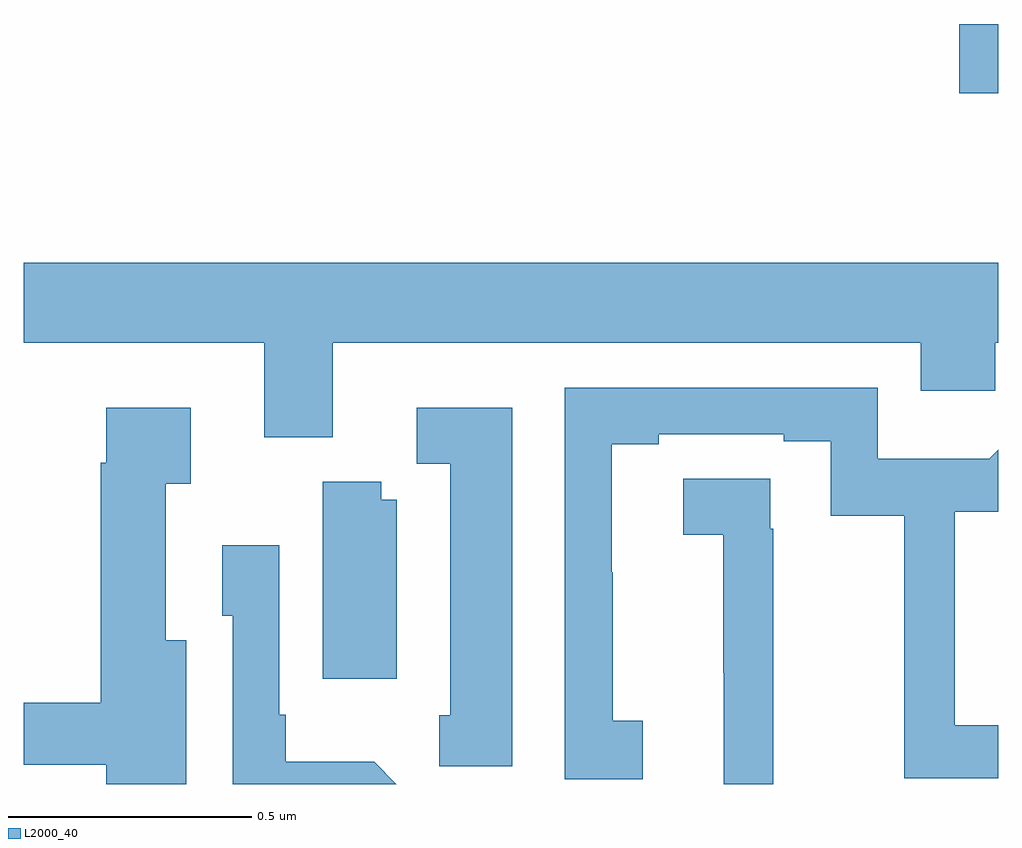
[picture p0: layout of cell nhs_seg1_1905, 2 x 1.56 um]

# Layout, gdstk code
import gdstk
lib = gdstk.Library(unit=1e-6, precision=1e-09)
def R(c, l, rs):  # rectangles x0, y0, x1, y1
    for r in rs: c.add(gdstk.rectangle(r[:2], r[2:], *l))
def P(c, l, *ps):  # polygons
    for p in ps: c.add(gdstk.Polygon(p, *l))
L2000_40 = (2000, 40)

nhs_seg1_1905 = lib.new_cell('nhs_seg1_1905')
R(nhs_seg1_1905, L2000_40, [(136.92,513.616,137,513.758)])
P(nhs_seg1_1905, L2000_40, [(135.634,513.104),(136.841,513.104),(136.841,513.006),(136.993,513.006),(136.993,513.104),(137,513.104),(137,513.268),(135,513.268),(135,513.104),(135.494,513.104),(135.494,512.91),(135.634,512.91)],
  [(136.27,512.329),(136.209,512.329),(136.209,512.633),(136.207,512.633),(136.207,512.896),(136.303,512.896),(136.303,512.916),(136.559,512.916),(136.559,512.902),(136.656,512.902),(136.656,512.749),(136.807,512.749),(136.807,512.211),(137,512.211),(137,512.32),(136.91,512.32),(136.91,512.757),(137,512.757),(137,512.885),(136.981,512.866),(136.752,512.866),(136.752,513.012),(136.11,513.012),(136.11,512.209),(136.27,512.209)],
  [(136.003,512.971),(135.807,512.971),(135.807,512.856),(135.875,512.856),(135.875,512.34),(135.853,512.34),(135.853,512.235),(136.003,512.235)],
  [(135.334,512.494),(135.292,512.494),(135.292,512.815),(135.343,512.815),(135.343,512.971),(135.17,512.971),(135.17,512.858),(135.158,512.858),(135.158,512.366),(135,512.366),(135,512.238),(135.17,512.238),(135.17,512.199),(135.334,512.199)],
  [(136.538,512.723),(136.532,512.723),(136.532,512.825),(136.353,512.825),(136.353,512.71),(136.435,512.71),(136.435,512.427),(136.436,512.427),(136.436,512.199),(136.538,512.199)],
  [(135.766,512.782),(135.734,512.782),(135.734,512.819),(135.614,512.819),(135.614,512.415),(135.766,512.415)],
  [(135.719,512.245),(135.538,512.245),(135.538,512.341),(135.525,512.341),(135.525,512.689),(135.408,512.689),(135.408,512.544),(135.429,512.544),(135.429,512.199),(135.765,512.199)])

lib.write_gds('nhs_seg1_1905.gds')
